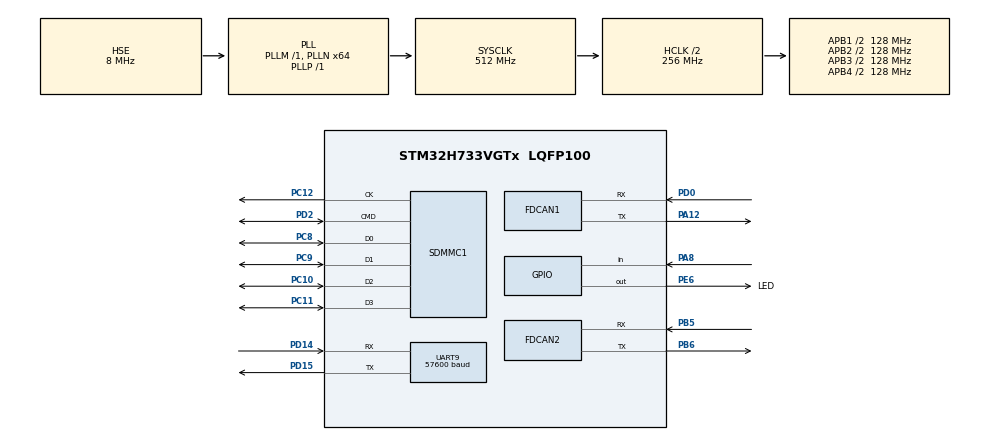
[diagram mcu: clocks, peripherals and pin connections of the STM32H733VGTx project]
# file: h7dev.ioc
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CORTEX_M7.CPU_DCache=Enabled
CORTEX_M7.CPU_ICache=Enabled
CORTEX_M7.default_mode_Activation=0
FDCAN1.CalculateBaudRateNominal=1600000
FDCAN1.CalculateTimeBitNominal=625
FDCAN1.CalculateTimeQuantumNominal=125.0
FDCAN2.AutoRetransmission=ENABLE
FDCAN2.CalculateBaudRateNominal=500000
FDCAN2.CalculateTimeBitNominal=2000
FDCAN2.CalculateTimeQuantumNominal=125.0
FDCAN2.NominalSyncJumpWidth=4
FDCAN2.NominalTimeSeg1=13
FDCAN2.ProtocolException=DISABLE
FDCAN2.RxFifo0ElmtsNbr=1
FDCAN2.RxFifo1ElmtsNbr=0
FDCAN2.StdFiltersNbr=1
FDCAN2.TxBuffersNbr=0
FDCAN2.TxEventsNbr=0
FDCAN2.TxFifoQueueElmtsNbr=1
FREERTOS.Tasks01=defaultTask,24,512,runDefaultTask,Default,NULL,Static,defaultTaskBuffer,defaultTaskControlBlock;canTxTask,16,512,runCanTxTask,Default,NULL,Static,canTxTaskBuffer,canTxTaskControlBlock;canRxTask,16,512,runCanRxTask,Default,NULL,Static,canRxTaskBuffer,canRxTaskControlBlock
FREERTOS.configMINIMAL_STACK_SIZE=1024
FREERTOS.configUSE_NEWLIB_REENTRANT=1
Mcu.Family=STM32H7
Mcu.Name=STM32H733VGTx
Mcu.Package=LQFP100
NVIC.FDCAN2_IT0_IRQn=true\:5\:0\:false\:false\:true\:true\:true\:true\:true
NVIC.FDCAN2_IT1_IRQn=true\:5\:0\:false\:false\:true\:true\:true\:true\:true
NVIC.PriorityGroup=NVIC_PRIORITYGROUP_4
NVIC.SDMMC1_IRQn=true\:5\:0\:false\:false\:true\:true\:true\:true\:true
NVIC.TIM6_DAC_IRQn=true\:15\:0\:false\:false\:true\:false\:false\:true\:true
NVIC.TimeBase=TIM6_DAC_IRQn
NVIC.TimeBaseIP=TIM6
PA12.Mode=FDCAN_Activate
PA12.Signal=FDCAN1_TX
PA13(JTMS/SWDIO).Mode=Trace_Asynchronous_SW
PA13(JTMS/SWDIO).Signal=DEBUG_JTMS-SWDIO
PA14(JTCK/SWCLK).Mode=Trace_Asynchronous_SW
PA14(JTCK/SWCLK).Signal=DEBUG_JTCK-SWCLK
PA8.GPIO_PuPd=GPIO_NOPULL
PA8.Signal=GPIO_Input
PB3(JTDO/TRACESWO).Mode=Trace_Asynchronous_SW
PB3(JTDO/TRACESWO).Signal=DEBUG_JTDO-SWO
PB5.GPIO_Speed=GPIO_SPEED_FREQ_VERY_HIGH
PB5.Mode=FDCAN_Activate
PB5.Signal=FDCAN2_RX
PB6.GPIO_Speed=GPIO_SPEED_FREQ_VERY_HIGH
PB6.Mode=FDCAN_Activate
PB6.Signal=FDCAN2_TX
PC10.Mode=SD_4_bits_Wide_bus
PC10.Signal=SDMMC1_D2
PC11.Mode=SD_4_bits_Wide_bus
PC11.Signal=SDMMC1_D3
PC12.Mode=SD_4_bits_Wide_bus
PC12.Signal=SDMMC1_CK
PC8.Mode=SD_4_bits_Wide_bus
PC8.Signal=SDMMC1_D0
PC9.Mode=SD_4_bits_Wide_bus
PC9.Signal=SDMMC1_D1
PD0.GPIO_Speed=GPIO_SPEED_FREQ_VERY_HIGH
PD0.Mode=FDCAN_Activate
PD0.Signal=FDCAN1_RX
PD14.Mode=Asynchronous
PD14.Signal=UART9_RX
PD15.Mode=Asynchronous
PD15.Signal=UART9_TX
PD2.Mode=SD_4_bits_Wide_bus
PD2.Signal=SDMMC1_CMD
PE6.GPIO_Label=LED
PE6.Signal=GPIO_Output
PH0-OSC_IN.Mode=HSE-External-Oscillator
PH0-OSC_IN.Signal=RCC_OSC_IN
PH1-OSC_OUT.Mode=HSE-External-Oscillator
PH1-OSC_OUT.Signal=RCC_OSC_OUT
ProjectManager.HeapSize=0x00
ProjectManager.StackSize=0x400
ProjectManager.TargetToolchain=STM32CubeIDE
RCC.ADCFreq_Value=16125000
RCC.APB1Freq_Value=128000000
RCC.APB2Freq_Value=128000000
RCC.APB3Freq_Value=128000000
RCC.APB4Freq_Value=128000000
RCC.CortexFreq_Value=512000000
RCC.D1PPRE=RCC_APB3_DIV2
RCC.D2PPRE1=RCC_APB1_DIV2
RCC.D2PPRE2=RCC_APB2_DIV2
RCC.D3PPRE=RCC_APB4_DIV2
RCC.DIVM1=1
RCC.DIVN1=64
RCC.DIVP1=1
RCC.DIVQ1=4
RCC.HCLKFreq_Value=256000000
RCC.HPRE=RCC_HCLK_DIV2
RCC.HSE_VALUE=8000000
RCC.PLLFRACN=0
RCC.PLLSourceVirtual=RCC_PLLSOURCE_HSE
RCC.SYSCLKFreq_VALUE=512000000
RCC.SYSCLKSource=RCC_SYSCLKSOURCE_PLLCLK
RCC.USBFreq_Value=128000000
SDMMC1.ClockDiv=9
SDMMC1.ClockEdge=SDMMC_CLOCK_EDGE_RISING
SDMMC1.HardwareFlowControl=SDMMC_HARDWARE_FLOW_CONTROL_ENABLE
UART9.BaudRate=57600
VP_FREERTOS_VS_CMSIS_V2.Mode=CMSIS_V2
VP_SYS_VS_tim6.Mode=TIM6
board=custom

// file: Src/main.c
/* USER CODE BEGIN Header */
/**
 ******************************************************************************
 * @file           : main.c
 * @brief          : Main program body
 ******************************************************************************
 * Copyright (c) 2023 STMicroelectronics.
 * All rights reserved.
 *
 * This software is licensed under terms that can be found in the LICENSE file
 * in the root directory of this software component.
 * If no LICENSE file comes with this software, it is provided AS-IS.
 *
 ******************************************************************************
 */
/* USER CODE END Header */
#include "main.h"
#include "cmsis_os.h"

/* USER CODE BEGIN Includes */
#include <stdio.h>
#include "../../nanopb/pb_encode.h"
#include "../../nanopb/pb_decode.h"
#include "sample.pb.h"
#include "string.h"
#include "string.h"
#include "hw_hardFaultHandler.h"
#include "hw_can.h"
#include "hw_sd.h"
#include "hw_bootup.h"
#include "hw_uart.h"
#include "io_can.h"
#include "io_canLogging.h"
#include "io_fileSystem.h"
#include "hw_gpio.h"
#include "io_log.h"
#include "hw_utils.h"
/* USER CODE END Includes */

typedef StaticTask_t osStaticThreadDef_t;

FDCAN_HandleTypeDef hfdcan1;
FDCAN_HandleTypeDef hfdcan2;

SD_HandleTypeDef hsd1;

UART_HandleTypeDef huart9;

/* Definitions for defaultTask */
osThreadId_t         defaultTaskHandle;
uint32_t             defaultTaskBuffer[512];
osStaticThreadDef_t  defaultTaskControlBlock;
const osThreadAttr_t defaultTask_attributes = {
    .name       = "defaultTask",
    .cb_mem     = &defaultTaskControlBlock,
    .cb_size    = sizeof(defaultTaskControlBlock),
    .stack_mem  = &defaultTaskBuffer[0],
    .stack_size = sizeof(defaultTaskBuffer),
    .priority   = (osPriority_t)osPriorityNormal,
};
/* Definitions for canTxTask */
osThreadId_t         canTxTaskHandle;
uint32_t             canTxTaskBuffer[512];
osStaticThreadDef_t  canTxTaskControlBlock;
const osThreadAttr_t canTxTask_attributes = {
    .name       = "canTxTask",
    .cb_mem     = &canTxTaskControlBlock,
    .cb_size    = sizeof(canTxTaskControlBlock),
    .stack_mem  = &canTxTaskBuffer[0],
    .stack_size = sizeof(canTxTaskBuffer),
    .priority   = (osPriority_t)osPriorityBelowNormal,
};
/* Definitions for canRxTask */
osThreadId_t         canRxTaskHandle;
uint32_t             canRxTaskBuffer[512];
osStaticThreadDef_t  canRxTaskControlBlock;
const osThreadAttr_t canRxTask_attributes = {
    .name       = "canRxTask",
    .cb_mem     = &canRxTaskControlBlock,
    .cb_size    = sizeof(canRxTaskControlBlock),
    .stack_mem  = &canRxTaskBuffer[0],
    .stack_size = sizeof(canRxTaskBuffer),
    .priority   = (osPriority_t)osPriorityBelowNormal,
};
/* USER CODE BEGIN PV */

int         write_num    = 0;
int         read_num     = 0;
int         overflow_num = 0;
static void callback(uint32_t i)
{
    overflow_num++;
    // BREAK_IF_DEBUGGER_CONNECTED();
}

static CanConfig can_config = {
    .rx_msg_filter        = NULL,
    .tx_overflow_callback = callback,
    .rx_overflow_callback = callback,
};

/* USER CODE END PV */

void        SystemClock_Config(void);
static void MX_GPIO_Init(void);
static void MX_FDCAN2_Init(void);
static void MX_SDMMC1_SD_Init(void);
static void MX_FDCAN1_Init(void);
static void MX_UART9_Init(void);
void        runDefaultTask(void *argument);
void        runCanTxTask(void *argument);
void        runCanRxTask(void *argument);

/* USER CODE BEGIN PFP */
static void can_msg_received_callback(CanMsg *rx_msg);

/* USER CODE END PFP */

/* USER CODE BEGIN 0 */
CanHandle can = { .can = &hfdcan2, .can_msg_received_callback = can_msg_received_callback };
SdCard    sd  = { .hsd = &hsd1, .timeout = osWaitForever };

Gpio sd_present = {
    .pin  = GPIO_PIN_8,
    .port = GPIOA,
};
bool sd_inited;

/* USER CODE END 0 */

int main(void)
{
    /* USER CODE BEGIN 1 */
    hw_bootup_enableInterruptsForApp();
    /* USER CODE END 1 */

    /* Enable I-Cache---------------------------------------------------------*/
    SCB_EnableICache();

    /* Enable D-Cache---------------------------------------------------------*/
    SCB_EnableDCache();

    /* MCU Configuration--------------------------------------------------------*/

    /* Reset of all peripherals, Initializes the Flash interface and the Systick. */
    HAL_Init();

    /* Configure the system clock */
    SystemClock_Config();

    /* Initialize all configured peripherals */
    MX_GPIO_Init();
    MX_FDCAN2_Init();
    MX_SDMMC1_SD_Init();
    MX_FDCAN1_Init();
    MX_UART9_Init();
    /* USER CODE BEGIN 2 */
    // __HAL_DBGMCU_FREEZE_IWDG();

    io_can_init(&can_config);
    hw_hardFaultHandler_init();
    hw_can_init(&can);

    if (sd_inited)
    {
        sd.hsd     = &hsd1;
        sd.timeout = osWaitForever;
        int err    = io_fileSystem_init();
        io_canLogging_init(&can_config);
    }

    SEGGER_SYSVIEW_Conf();
    LOG_INFO("h7dev reset!");
    /* USER CODE END 2 */

    /* Init scheduler */
    osKernelInitialize();

    /* Create the thread(s) */
    /* creation of defaultTask */
    defaultTaskHandle = osThreadNew(runDefaultTask, NULL, &defaultTask_attributes);

    /* creation of canTxTask */
    canTxTaskHandle = osThreadNew(runCanTxTask, NULL, &canTxTask_attributes);

    /* creation of canRxTask */
    canRxTaskHandle = osThreadNew(runCanRxTask, NULL, &canRxTask_attributes);

    /* Start scheduler */
    osKernelStart();

    /* We should never get here as control is now taken by the scheduler */
    /* Infinite loop */
    while (1)
    {

    }
}

void SystemClock_Config(void)
{
    RCC_OscInitTypeDef RCC_OscInitStruct = { 0 };
    RCC_ClkInitTypeDef RCC_ClkInitStruct = { 0 };

    /** Supply configuration update enable
     */
    HAL_PWREx_ConfigSupply(PWR_LDO_SUPPLY);

    /** Configure the main internal regulator output voltage
     */
    __HAL_PWR_VOLTAGESCALING_CONFIG(PWR_REGULATOR_VOLTAGE_SCALE0);

    while (!__HAL_PWR_GET_FLAG(PWR_FLAG_VOSRDY))
    {
    }

    /** Initializes the RCC Oscillators according to the specified parameters
     * in the RCC_OscInitTypeDef structure.
     */
    RCC_OscInitStruct.OscillatorType = RCC_OSCILLATORTYPE_HSE;
    RCC_OscInitStruct.HSEState       = RCC_HSE_ON;
    RCC_OscInitStruct.PLL.PLLState   = RCC_PLL_ON;
    RCC_OscInitStruct.PLL.PLLSource  = RCC_PLLSOURCE_HSE;
    RCC_OscInitStruct.PLL.PLLM       = 1;
    RCC_OscInitStruct.PLL.PLLN       = 64;
    RCC_OscInitStruct.PLL.PLLP       = 1;
    RCC_OscInitStruct.PLL.PLLQ       = 4;
    RCC_OscInitStruct.PLL.PLLR       = 2;
    RCC_OscInitStruct.PLL.PLLRGE     = RCC_PLL1VCIRANGE_3;
    RCC_OscInitStruct.PLL.PLLVCOSEL  = RCC_PLL1VCOWIDE;
    RCC_OscInitStruct.PLL.PLLFRACN   = 0;
    if (HAL_RCC_OscConfig(&RCC_OscInitStruct) != HAL_OK)
    {
        Error_Handler();
    }

    /** Initializes the CPU, AHB and APB buses clocks
     */
    RCC_ClkInitStruct.ClockType = RCC_CLOCKTYPE_HCLK | RCC_CLOCKTYPE_SYSCLK | RCC_CLOCKTYPE_PCLK1 |
                                  RCC_CLOCKTYPE_PCLK2 | RCC_CLOCKTYPE_D3PCLK1 | RCC_CLOCKTYPE_D1PCLK1;
    RCC_ClkInitStruct.SYSCLKSource   = RCC_SYSCLKSOURCE_PLLCLK;
    RCC_ClkInitStruct.SYSCLKDivider  = RCC_SYSCLK_DIV1;
    RCC_ClkInitStruct.AHBCLKDivider  = RCC_HCLK_DIV2;
    RCC_ClkInitStruct.APB3CLKDivider = RCC_APB3_DIV2;
    RCC_ClkInitStruct.APB1CLKDivider = RCC_APB1_DIV2;
    RCC_ClkInitStruct.APB2CLKDivider = RCC_APB2_DIV2;
    RCC_ClkInitStruct.APB4CLKDivider = RCC_APB4_DIV2;

    if (HAL_RCC_ClockConfig(&RCC_ClkInitStruct, FLASH_LATENCY_3) != HAL_OK)
    {
        Error_Handler();
    }
}

static void MX_FDCAN1_Init(void)
{

    hfdcan1.Instance                  = FDCAN1;
    hfdcan1.Init.FrameFormat          = FDCAN_FRAME_CLASSIC;
    hfdcan1.Init.Mode                 = FDCAN_MODE_NORMAL;
    hfdcan1.Init.AutoRetransmission   = DISABLE;
    hfdcan1.Init.TransmitPause        = DISABLE;
    hfdcan1.Init.ProtocolException    = DISABLE;
    hfdcan1.Init.NominalPrescaler     = 16;
    hfdcan1.Init.NominalSyncJumpWidth = 1;
    hfdcan1.Init.NominalTimeSeg1      = 2;
    hfdcan1.Init.NominalTimeSeg2      = 2;
    hfdcan1.Init.DataPrescaler        = 1;
    hfdcan1.Init.DataSyncJumpWidth    = 1;
    hfdcan1.Init.DataTimeSeg1         = 1;
    hfdcan1.Init.DataTimeSeg2         = 1;
    hfdcan1.Init.MessageRAMOffset     = 0;
    hfdcan1.Init.StdFiltersNbr        = 0;
    hfdcan1.Init.ExtFiltersNbr        = 0;
    hfdcan1.Init.RxFifo0ElmtsNbr      = 0;
    hfdcan1.Init.RxFifo0ElmtSize      = FDCAN_DATA_BYTES_8;
    hfdcan1.Init.RxFifo1ElmtsNbr      = 0;
    hfdcan1.Init.RxFifo1ElmtSize      = FDCAN_DATA_BYTES_8;
    hfdcan1.Init.RxBuffersNbr         = 0;
    hfdcan1.Init.RxBufferSize         = FDCAN_DATA_BYTES_8;
    hfdcan1.Init.TxEventsNbr          = 0;
    hfdcan1.Init.TxBuffersNbr         = 0;
    hfdcan1.Init.TxFifoQueueElmtsNbr  = 0;
    hfdcan1.Init.TxFifoQueueMode      = FDCAN_TX_FIFO_OPERATION;
    hfdcan1.Init.TxElmtSize           = FDCAN_DATA_BYTES_8;
    if (HAL_FDCAN_Init(&hfdcan1) != HAL_OK)
    {
        Error_Handler();
    }
}

static void MX_FDCAN2_Init(void)
{

    hfdcan2.Instance                  = FDCAN2;
    hfdcan2.Init.FrameFormat          = FDCAN_FRAME_CLASSIC;
    hfdcan2.Init.Mode                 = FDCAN_MODE_NORMAL;
    hfdcan2.Init.AutoRetransmission   = ENABLE;
    hfdcan2.Init.TransmitPause        = DISABLE;
    hfdcan2.Init.ProtocolException    = DISABLE;
    hfdcan2.Init.NominalPrescaler     = 16;
    hfdcan2.Init.NominalSyncJumpWidth = 4;
    hfdcan2.Init.NominalTimeSeg1      = 13;
    hfdcan2.Init.NominalTimeSeg2      = 2;
    hfdcan2.Init.DataPrescaler        = 1;
    hfdcan2.Init.DataSyncJumpWidth    = 1;
    hfdcan2.Init.DataTimeSeg1         = 1;
    hfdcan2.Init.DataTimeSeg2         = 1;
    hfdcan2.Init.MessageRAMOffset     = 0;
    hfdcan2.Init.StdFiltersNbr        = 1;
    hfdcan2.Init.ExtFiltersNbr        = 0;
    hfdcan2.Init.RxFifo0ElmtsNbr      = 1;
    hfdcan2.Init.RxFifo0ElmtSize      = FDCAN_DATA_BYTES_8;
    hfdcan2.Init.RxFifo1ElmtsNbr      = 0;
    hfdcan2.Init.RxFifo1ElmtSize      = FDCAN_DATA_BYTES_8;
    hfdcan2.Init.RxBuffersNbr         = 0;
    hfdcan2.Init.RxBufferSize         = FDCAN_DATA_BYTES_8;
    hfdcan2.Init.TxEventsNbr          = 0;
    hfdcan2.Init.TxBuffersNbr         = 0;
    hfdcan2.Init.TxFifoQueueElmtsNbr  = 1;
    hfdcan2.Init.TxFifoQueueMode      = FDCAN_TX_FIFO_OPERATION;
    hfdcan2.Init.TxElmtSize           = FDCAN_DATA_BYTES_8;
    if (HAL_FDCAN_Init(&hfdcan2) != HAL_OK)
    {
        Error_Handler();
    }
}

static void MX_SDMMC1_SD_Init(void)
{
    /* USER CODE BEGIN SDMMC1_Init 0 */
    if (hw_gpio_readPin(&sd_present))
    {
        sd_inited = false;
        return;
    }

    /* USER CODE END SDMMC1_Init 0 */

    hsd1.Instance                 = SDMMC1;
    hsd1.Init.ClockEdge           = SDMMC_CLOCK_EDGE_RISING;
    hsd1.Init.ClockPowerSave      = SDMMC_CLOCK_POWER_SAVE_DISABLE;
    hsd1.Init.BusWide             = SDMMC_BUS_WIDE_4B;
    hsd1.Init.HardwareFlowControl = SDMMC_HARDWARE_FLOW_CONTROL_ENABLE;
    hsd1.Init.ClockDiv            = 9;
    if (HAL_SD_Init(&hsd1) != HAL_OK)
    {
        Error_Handler();
    }
    /* USER CODE BEGIN SDMMC1_Init 2 */
    sd_inited = true;
    hw_sd_init(&sd);
    /* USER CODE END SDMMC1_Init 2 */
}

static void MX_UART9_Init(void)
{

    huart9.Instance                    = UART9;
    huart9.Init.BaudRate               = 57600;
    huart9.Init.WordLength             = UART_WORDLENGTH_8B;
    huart9.Init.StopBits               = UART_STOPBITS_1;
    huart9.Init.Parity                 = UART_PARITY_NONE;
    huart9.Init.Mode                   = UART_MODE_TX_RX;
    huart9.Init.HwFlowCtl              = UART_HWCONTROL_NONE;
    huart9.Init.OverSampling           = UART_OVERSAMPLING_16;
    huart9.Init.OneBitSampling         = UART_ONE_BIT_SAMPLE_DISABLE;
    huart9.Init.ClockPrescaler         = UART_PRESCALER_DIV1;
    huart9.AdvancedInit.AdvFeatureInit = UART_ADVFEATURE_NO_INIT;
    if (HAL_UART_Init(&huart9) != HAL_OK)
    {
        Error_Handler();
    }
    if (HAL_UARTEx_SetTxFifoThreshold(&huart9, UART_TXFIFO_THRESHOLD_1_8) != HAL_OK)
    {
        Error_Handler();
    }
    if (HAL_UARTEx_SetRxFifoThreshold(&huart9, UART_RXFIFO_THRESHOLD_1_8) != HAL_OK)
    {
        Error_Handler();
    }
    if (HAL_UARTEx_DisableFifoMode(&huart9) != HAL_OK)
    {
        Error_Handler();
    }
}

static void MX_GPIO_Init(void)
{
    GPIO_InitTypeDef GPIO_InitStruct = { 0 };

    /* GPIO Ports Clock Enable */
    __HAL_RCC_GPIOE_CLK_ENABLE();
    __HAL_RCC_GPIOH_CLK_ENABLE();
    __HAL_RCC_GPIOD_CLK_ENABLE();
    __HAL_RCC_GPIOC_CLK_ENABLE();
    __HAL_RCC_GPIOA_CLK_ENABLE();
    __HAL_RCC_GPIOB_CLK_ENABLE();

    /*Configure GPIO pin Output Level */
    HAL_GPIO_WritePin(LED_GPIO_Port, LED_Pin, GPIO_PIN_RESET);

    /*Configure GPIO pin : LED_Pin */
    GPIO_InitStruct.Pin   = LED_Pin;
    GPIO_InitStruct.Mode  = GPIO_MODE_OUTPUT_PP;
    GPIO_InitStruct.Pull  = GPIO_NOPULL;
    GPIO_InitStruct.Speed = GPIO_SPEED_FREQ_LOW;
    HAL_GPIO_Init(LED_GPIO_Port, &GPIO_InitStruct);

    /*Configure GPIO pin : PA8 */
    GPIO_InitStruct.Pin  = GPIO_PIN_8;
    GPIO_InitStruct.Mode = GPIO_MODE_INPUT;
    GPIO_InitStruct.Pull = GPIO_NOPULL;
    HAL_GPIO_Init(GPIOA, &GPIO_InitStruct);

}

/* USER CODE BEGIN 4 */

static void can_msg_received_callback(CanMsg *rx_msg)
{
    // TODO: check gpio present
    static uint32_t id = 0;
    rx_msg->std_id     = id;
    id++;
    io_can_msgReceivedCallback(rx_msg);
    io_canLogging_msgReceivedCallback(rx_msg);
}

/* USER CODE END 4 */

void runDefaultTask(void *argument)
{
    /* USER CODE BEGIN 5 */
    /* Infinite loop */
    for (;;)
    {
        // UART modem_uart = { .handle = &huart9 };
        // /* Infinite loop */
        // // uint8_t message[7] = { 66, 79, 79, 66, 83, 13, 10 };
        // // uint8_t num; // use this if just want numbers
        // // uint8_t predicData[3];
        // // predicData[1] = 13;
        // // predicData[2] = 10;
        // uint8_t buffer[128];
        // uint8_t message_length;
        // bool    status;

        // // SimpleMessage message = SimpleMessage_init_zero;

        // for (;;)
        // {
        //     /* Create a stream that will write to our buffer. */
        //     TelemMessage message = TelemMessage_init_zero;
        //     pb_ostream_t stream  = pb_ostream_from_buffer(buffer, sizeof(buffer));

        //     /* Fill in the lucky number */
        //     message.can_id     = 53;
        //     message.data       = 23;
        //     message.time_stamp = 9;

        //     /* Now we are ready to encode the message! */
        //     status         = pb_encode(&stream, TelemMessage_fields, &message);
        //     message_length = (uint8_t)stream.bytes_written;
        //     // message_length = stream.bytes_written;
        //     if (status)
        //     {
        //         hw_uart_transmitPoll(&modem_uart, &message_length, 1, 100);
        //         hw_uart_transmitPoll(&modem_uart, buffer, sizeof(buffer), 100); // fun string
        //     }
        //     osDelay(10);
        // }
    }
    /* USER CODE END 5 */
}

void runCanTxTask(void *argument)
{
    /* USER CODE BEGIN runCanTxTask */
    /* Infinite loop */

    for (unsigned int i = 0; i < 10000; i++)
    {
        CanMsg msg = { .std_id = i, .dlc = 8, .data = { 0, 1, 2, 3, 4, 5, 6, 7 } };
        for (int j = 0; j < 6; j++)
        {
            read_num++;
            io_canLogging_pushTxMsgToQueue(&msg);
        }
        osDelay(1);
    }

    osDelay(osWaitForever);
    /* USER CODE END runCanTxTask */
}

void runCanRxTask(void *argument)
{
    /* USER CODE BEGIN runCanRxTask */
    /* Infinite loop */
    static uint32_t count = 0;
    for (;;)
    {
        // CanMsg msg;
        // io_can_popRxMsgFromQueue(&msg);
        io_canLogging_recordMsgFromQueue();
        write_num++;
        count++;

        if (count > 256)
        {
            io_canLogging_sync();
            count = 0;
        }
    }
    /* USER CODE END runCanRxTask */
}

void HAL_TIM_PeriodElapsedCallback(TIM_HandleTypeDef *htim)
{
    if (htim->Instance == TIM6)
    {
        HAL_IncTick();
    }
}

void Error_Handler(void)
{
    __disable_irq();
    while (1)
    {
    }
}
